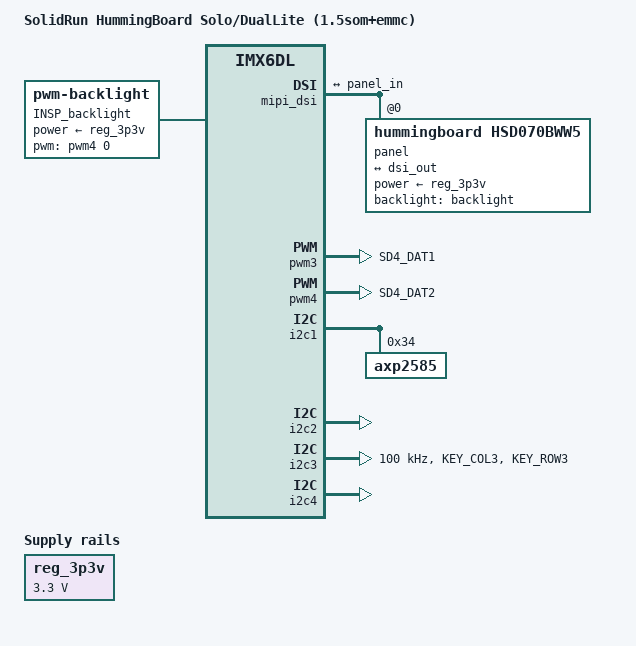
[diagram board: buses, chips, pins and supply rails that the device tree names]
/*
 * Copyright (C) 2014 Rabeeh Khoury (rabeeh@solid-run.com)
 * Based on dt work by Russell King
 *
 * This file is dual-licensed: you can use it either under the terms
 * of the GPL or the X11 license, at your option. Note that this dual
 * licensing only applies to this file, and not this project as a
 * whole.
 *
 *  a) This file is free software; you can redistribute it and/or
 *     modify it under the terms of the GNU General Public License
 *     version 2 as published by the Free Software Foundation.
 *
 *     This file is distributed in the hope that it will be useful,
 *     but WITHOUT ANY WARRANTY; without even the implied warranty of
 *     MERCHANTABILITY or FITNESS FOR A PARTICULAR PURPOSE.  See the
 *     GNU General Public License for more details.
 *
 * Or, alternatively,
 *
 *  b) Permission is hereby granted, free of charge, to any person
 *     obtaining a copy of this software and associated documentation
 *     files (the "Software"), to deal in the Software without
 *     restriction, including without limitation the rights to use,
 *     copy, modify, merge, publish, distribute, sublicense, and/or
 *     sell copies of the Software, and to permit persons to whom the
 *     Software is furnished to do so, subject to the following
 *     conditions:
 *
 *     The above copyright notice and this permission notice shall be
 *     included in all copies or substantial portions of the Software.
 *
 *     THE SOFTWARE IS PROVIDED "AS IS", WITHOUT WARRANTY OF ANY KIND,
 *     EXPRESS OR IMPLIED, INCLUDING BUT NOT LIMITED TO THE WARRANTIES
 *     OF MERCHANTABILITY, FITNESS FOR A PARTICULAR PURPOSE AND
 *     NONINFRINGEMENT. IN NO EVENT SHALL THE AUTHORS OR COPYRIGHT
 *     HOLDERS BE LIABLE FOR ANY CLAIM, DAMAGES OR OTHER LIABILITY,
 *     WHETHER IN AN ACTION OF CONTRACT, TORT OR OTHERWISE, ARISING
 *     FROM, OUT OF OR IN CONNECTION WITH THE SOFTWARE OR THE USE OR
 *     OTHER DEALINGS IN THE SOFTWARE.
 */
/dts-v1/;

#include "imx6dl.dtsi"
#include "imx6qdl-sr-som.dtsi"
#include "imx6qdl-sr-som-ti.dtsi"
#include "imx6qdl-sr-som-emmc.dtsi"
#include "imx6qdl-hummingboard.dtsi"

/ {
	model = "SolidRun HummingBoard Solo/DualLite (1.5som+emmc)";
	compatible = "solidrun,hummingboard/dl", "fsl,imx6dl";

    // enable backlight with default brightness
    backlight:backlight {
            label = "INSP_backlight";
            compatible = "pwm-backlight";
            status = "okay";
            pwms = <&pwm4 0 5000000>;
            brightness-levels = <0 4 8 16 32 64 128 255>;
            default-brightness-level = <6>;
            power-supply = <&reg_3p3v>;
            post-pwm-on-delay-ms = <10>;
            pwm-off-delay-ms = <10>;
    };

    regulators {
        compatible = "simple-bus";
        #address-cells = <1>;
        #size-cells = <0>;

        reg_3p3v: regulator@1 {
            compatible = "regulator-fixed";
            reg = <1>;
            regulator-name = "3P3V";
            regulator-min-microvolt = <3300000>;
            regulator-max-microvolt = <3300000>;
            regulator-always-on;
        };
    };
};

&mipi_dsi {
    label = "INSP_mipi_dsi";
    status = "okay";

    ports {
        port@1 {
            reg = <1>;
            dsi_out: endpoint {
                remote-endpoint = <&panel_in>;
            };
        };
    };

    panel@0 {
        compatible = "hummingboard,hsd070bww5", "ilitek,ili9881c";
        reg = <0>;
        power-supply = <&reg_3p3v>;
        //reset-gpios = <&r_pio 0 5 GPIO_ACTIVE_LOW>; /* PL05 */
        backlight = <&backlight>;
        panel-width-mm = <152>;
        panel-height-mm = <100>;
        dsi-lanes = <2>;
        video-mode = <2>;
        ports {
            #address-cells = <1>;
            #size-cells = <0>;
            port@0 {
                reg = <0>;
                panel_in: endpoint {
                    remote-endpoint = <&dsi_out>;
                };
            };
        };
    };
};

&hdmi {
    label = "INSP_hdmi";
    status = "disabled";
};


&pwm3 {
    label = "INSP_pwm3";
    pinctrl-names = "default";
    pinctrl-0 = <&pinctrl_pwm3>;
    status = "okay";
};

&pwm4 {
    label = "INSP_pwm4";
    #pwm-cells = <2>;
    pinctrl-names = "default";
    pinctrl-0 = <&pinctrl_pwm4>;
    status = "okay";
};

&i2c1 {
    label = "INSP_i2c1";
    status = "okay";

    axp2585@34 {
        //interrupt-parent = <&gpio0>;
        //interrupts = <26 2>;
        status = "okay";
        device_type = "pmu0";
        compatible = "axp2585";
        reg = <0x34>;
        //reg = <0x68>;
        pmu_id = <0x9>;
        pmu_vbusen_func = <0x0>;
        pmu_reset = <0x0>;
        pmu_irq_wakeup = <0x1>;
        pmu_hot_shutdown = <0x1>;
        pmu_inshort = <0x1>;
        
        powerkey@0 {
            status = "okay";
            device_type = "powerkey0";
            compatible = "axp2585-powerkey";
        };

        charger@0 {
            status = "okay";
            device_type = "charger0";
            compatible = "axp2585-charger";
            pmu_chg_ic_temp = <0x0>;
            pmu_battery_rdc = <0x64>;
            pmu_battery_cap = <0x1068>;
            pmu_runtime_chgcur = <0x1c2>;
            pmu_suspend_chgcur = <0x5dc>;
            pmu_shutdown_chgcur = <0x5dc>;
            pmu_init_chgvol = <0x1068>;
            pmu_on_ctl = <0x9>;
            pmu_boost_en = <0x1>;
            pmu_boost_cur_limit = <0x5dc>;
            pmu_boost_vol_limit = <0x1406>;
            pmu_boost_vol_hold = <0xa28>;
            pmu_ac_vol = <0xfa0>;
            pmu_ac_cur = <0xbb8>;
            pmu_usbpc_vol = <0x1130>;
            pmu_usbpc_cur = <0x1f4>;
            pmu_battery_warning_level1 = <0xf>;
            pmu_battery_warning_level2 = <0x0>;
            pmu_chgled_func = <0x0>;
            pmu_chgled_type = <0x0>;
            power_start = <0x0>;
            pmu_ocv_en = <0x1>;
            pmu_cou_en = <0x1>;
            pmu_update_min_time = <0x1e>;
            pmu_bat_para1 = <0x0>;
            pmu_bat_para2 = <0x0>;
            pmu_bat_para3 = <0x0>;
            pmu_bat_para4 = <0x0>;
            pmu_bat_para5 = <0x0>;
            pmu_bat_para6 = <0x0>;
            pmu_bat_para7 = <0x0>;
            pmu_bat_para8 = <0x0>;
            pmu_bat_para9 = <0x5>;
            pmu_bat_para10 = <0x8>;
            pmu_bat_para11 = <0x9>;
            pmu_bat_para12 = <0xa>;
            pmu_bat_para13 = <0xd>;
            pmu_bat_para14 = <0x10>;
            pmu_bat_para15 = <0x14>;
            pmu_bat_para16 = <0x21>;
            pmu_bat_para17 = <0x29>;
            pmu_bat_para18 = <0x2e>;
            pmu_bat_para19 = <0x32>;
            pmu_bat_para20 = <0x35>;
            pmu_bat_para21 = <0x39>;
            pmu_bat_para22 = <0x3d>;
            pmu_bat_para23 = <0x43>;
            pmu_bat_para24 = <0x49>;
            pmu_bat_para25 = <0x4e>;
            pmu_bat_para26 = <0x54>;
            pmu_bat_para27 = <0x58>;
            pmu_bat_para28 = <0x5c>;
            pmu_bat_para29 = <0x5d>;
            pmu_bat_para30 = <0x5e>;
            pmu_bat_para31 = <0x5f>;
            pmu_bat_para32 = <0x64>;
            pmu_bat_temp_enable = <0x0>;
            pmu_bat_charge_ltf = <0x8d5>;
            pmu_bat_charge_htf = <0x184>;
            pmu_bat_shutdown_ltf = <0xc80>;
            pmu_bat_shutdown_htf = <0xed>;
            pmu_bat_temp_para1 = <0x1d2a>;
            pmu_bat_temp_para2 = <0x1180>;
            pmu_bat_temp_para3 = <0xdbe>;
            pmu_bat_temp_para4 = <0xae2>;
            pmu_bat_temp_para5 = <0x8af>;
            pmu_bat_temp_para6 = <0x6fc>;
            pmu_bat_temp_para7 = <0x5a8>;
            pmu_bat_temp_para8 = <0x3c9>;
            pmu_bat_temp_para9 = <0x298>;
            pmu_bat_temp_para10 = <0x1d2>;
            pmu_bat_temp_para11 = <0x189>;
            pmu_bat_temp_para12 = <0x14d>;
            pmu_bat_temp_para13 = <0x11b>;
            pmu_bat_temp_para14 = <0xf2>;
            pmu_bat_temp_para15 = <0xb3>;
            pmu_bat_temp_para16 = <0x86>;
        }; // ~charger
    }; // ~axp
};

&i2c2 {
    label = "INSP_i2c2";
    status = "okay";
};

&i2c3 {
    label = "INSP_i2c3";
    status = "okay";
    clock-frequency = <100000>;
    pinctrl-names = "default";
    pinctrl-0 = <&pinctrl_insp_i2c2>;
};

&i2c4 {
    label = "INSP_i2c4";
    status = "okay";
};

&iomuxc {
    itb200 {
        pinctrl_csi1_parallel: csigrp-1 {
            fsl,pins = <
                /* DI1_DISP_CLK */
                MX6QDL_PAD_EIM_A16__IPU1_CSI1_PIXCLK    0x1b0b1
                /* DI1_PIN03 */
                MX6QDL_PAD_EIM_DA12__IPU1_CSI1_VSYNC    0x1b0b1
                /* DI1_PIN02 */
                MX6QDL_PAD_EIM_DA11__IPU1_CSI1_HSYNC    0x1b0b1
                /* CSI1_DATA12-19 */
                MX6QDL_PAD_EIM_A17__IPU1_CSI1_DATA12    0x1b0b1
                MX6QDL_PAD_EIM_A18__IPU1_CSI1_DATA13    0x1b0b1
                MX6QDL_PAD_EIM_A19__IPU1_CSI1_DATA14    0x1b0b1
                MX6QDL_PAD_EIM_A20__IPU1_CSI1_DATA15    0x1b0b1
                MX6QDL_PAD_EIM_A21__IPU1_CSI1_DATA16    0x1b0b1
                MX6QDL_PAD_EIM_A22__IPU1_CSI1_DATA17    0x1b0b1
                MX6QDL_PAD_EIM_A23__IPU1_CSI1_DATA18    0x1b0b1
                MX6QDL_PAD_EIM_A24__IPU1_CSI1_DATA19    0x1b0b1
            >;
        }; //~csigrp-1

        pinctrl_pwm4: pwm4grp {
            fsl,pins = <
                MX6QDL_PAD_SD4_DAT2__PWM4_OUT 0x1b0b1
            >;
        };

        pinctrl_pwm3: pwm3grp {
            fsl,pins = <
                MX6QDL_PAD_SD4_DAT1__PWM3_OUT 0x1b0b1
            >;
        };

        usb_sw_ctrl: usbswctrl {
            fsl,pins = <
                MX6QDL_PAD_GPIO_17__GPIO7_IO12 0x1b0b1
            >;
        };

        pinctrl_insp_i2c2: insp-i2c2 {
            fsl,pins = <
                MX6QDL_PAD_KEY_COL3__I2C2_SCL 0x4001b8b1
                MX6QDL_PAD_KEY_ROW3__I2C2_SDA 0x4001b8b1
            >;
        };

        pinctrl_insp_vbus_en: insp-vbus-en {
            fsl,pins = <MX6QDL_PAD_GPIO_0__GPIO1_IO00 0x1b0b0>;
        };

    }; //~itb200
}; //~iomuxc

&spdif {
    status = "disabled";
    /delete-property/ pinctrl-0;
};


&v_usb2 {
    /delete-property/ pinctrl-0;
};

/delete-node/ &pinctrl_hummingboard_spdif;
/delete-node/ &pinctrl_hummingboard_usbh1_vbus;

// set the usb-otg to pull up
&pinctrl_hummingboard_usbotg_id {
    label = "INSP_USB_OTG_ID";
    fsl,pins = <MX6QDL_PAD_GPIO_1__GPIO1_IO01 0x0001B0B0>;
};

&snvs_poweroff {
    label ="INSP_PWR_OFF";
    status = "okay";
};
